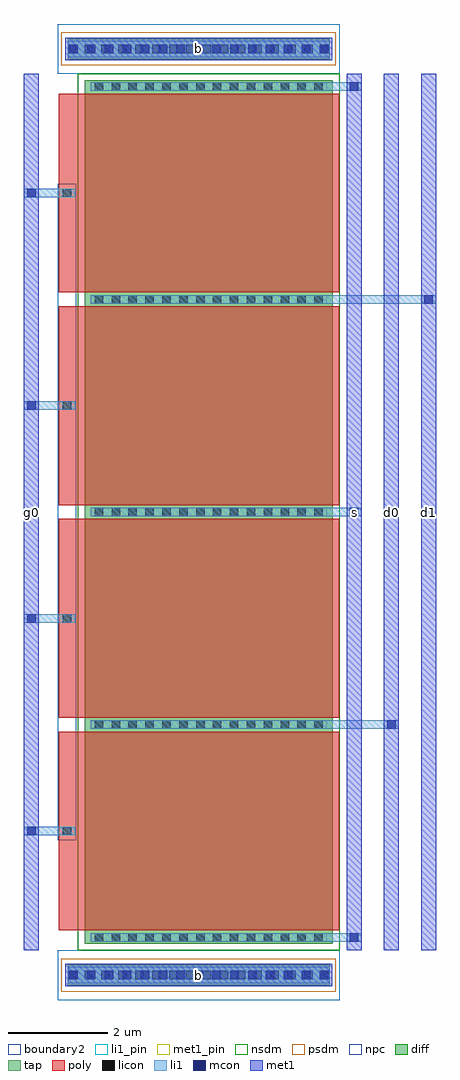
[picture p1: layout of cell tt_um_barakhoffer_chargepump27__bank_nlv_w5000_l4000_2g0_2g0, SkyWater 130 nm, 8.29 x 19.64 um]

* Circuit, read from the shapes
.subckt tt_um_barakhoffer_chargepump27__bank_nlv_w5000_l4000_2g0_2g0 b d0 d1 g0 s
XM1 d0 g0 s b sky130_fd_pr__nfet_01v8 w=5 l=4 m=2
XM2 d1 g0 s b sky130_fd_pr__nfet_01v8 w=5 l=4 m=2
.ends

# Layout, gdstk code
import gdstk
lib = gdstk.Library(unit=1e-6, precision=1e-09)
def R(c, l, rs):  # rectangles x0, y0, x1, y1
    for r in rs: c.add(gdstk.rectangle(r[:2], r[2:], *l))
def A(c, l, x, y, w, h, nx, ny, dx, dy):  # array of equal rectangles
    R(c, l, [(x+i*dx, y+j*dy, x+i*dx+w, y+j*dy+h) for i in range(nx) for j in range(ny)])
diff = (65, 20)
tap = (65, 44)
poly = (66, 20)
licon = (66, 44)
li1_pin = (67, 16)
li1 = (67, 20)
mcon = (67, 44)
met1_pin = (68, 16)
met1 = (68, 20)
nsdm = (93, 44)
psdm = (94, 20)
npc = (95, 20)
boundary2 = (236, 0)

tt_um_barakhoffer_charge = lib.new_cell('tt_um_barakhoffer_chargepump27__mos_18')
A(tt_um_barakhoffer_charge, diff, 0.145, 0, 4.71, 0.25, 1, 5, 0, 4.28)
R(tt_um_barakhoffer_charge, diff, [(0,0,5,17.37)])
A(tt_um_barakhoffer_charge, poly, -0.52, 0.265, 0.33, 4, 1, 4, 0, 4.28)
A(tt_um_barakhoffer_charge, poly, -0.19, 0.265, 5.32, 4, 1, 4, 0, 4.28)
A(tt_um_barakhoffer_charge, poly, -0.52, 2.13, 0.33, 0.27, 1, 4, 0, 4.28)
A(tt_um_barakhoffer_charge, licon, 0.205, 0.04, 0.17, 0.17, 14, 5, 0.34, 4.28)
A(tt_um_barakhoffer_charge, licon, -0.44, 2.18, 0.17, 0.17, 1, 4, 0, 4.28)
A(tt_um_barakhoffer_charge, li1_pin, 0.125, 0.04, 4.75, 0.17, 1, 5, 0, 4.28)
A(tt_um_barakhoffer_charge, li1_pin, -0.52, 2.18, 0.33, 0.17, 1, 4, 0, 4.28)
R(tt_um_barakhoffer_charge, li1, [(0.125,0.04,4.875,0.21), (0.125,0.04,4.875,0.21), (-0.52,2.18,-0.19,2.35), (-0.52,2.18,-0.19,2.35), (0.125,4.32,4.875,4.49), (0.125,4.32,4.875,4.49), (-0.52,6.46,-0.19,6.63), (-0.52,6.46,-0.19,6.63), (0.125,8.6,4.875,8.77), (0.125,8.6,4.875,8.77), (-0.52,10.74,-0.19,10.91), (-0.52,10.74,-0.19,10.91), (0.125,12.88,4.875,13.05), (0.125,12.88,4.875,13.05), (-0.52,15.02,-0.19,15.19), (-0.52,15.02,-0.19,15.19), (0.125,17.16,4.875,17.33), (0.125,17.16,4.875,17.33)])
R(tt_um_barakhoffer_charge, nsdm, [(-0.135,-0.135,5.135,17.505)])
A(tt_um_barakhoffer_charge, npc, -0.54, 2.08, 0.37, 0.37, 1, 4, 0, 4.28)
R(tt_um_barakhoffer_charge, npc, [(-0.54,2.08,-0.17,15.29)])
tt_um_barakhoffer_charge.add(gdstk.Label('gate_1', (-0.355,6.545), layer=67, texttype=5))
tt_um_barakhoffer_charge.add(gdstk.Label('gate_2', (-0.355,10.825), layer=67, texttype=5))
tt_um_barakhoffer_charge.add(gdstk.Label('gate_3', (-0.355,15.105), layer=67, texttype=5))
tt_um_barakhoffer_charge.add(gdstk.Label('sd_0_1', (2.5,4.405), layer=67, texttype=5))
tt_um_barakhoffer_charge.add(gdstk.Label('sd_0_3', (2.5,12.965), layer=67, texttype=5))
tt_um_barakhoffer_charge.add(gdstk.Label('gate_0', (-0.355,2.265), layer=67, texttype=5))
tt_um_barakhoffer_charge.add(gdstk.Label('sd_0_2', (2.5,8.685), layer=67, texttype=5))
tt_um_barakhoffer_charge.add(gdstk.Label('sd_0_0', (2.5,0.125), layer=67, texttype=5))
tt_um_barakhoffer_charge.add(gdstk.Label('sd_0_4', (2.5,17.245), layer=67, texttype=5))

c_tt_um_barakhoffer_charge = lib.new_cell('tt_um_barakhoffer_chargepump27__bank_nlv_w5000_l4000_2g0_2g0')
R(c_tt_um_barakhoffer_charge, tap, [(0.2,0.295,5.47,0.705), (0.2,18.935,5.47,19.345)])
A(c_tt_um_barakhoffer_charge, licon, 0.2, 0.415, 0.17, 0.17, 16, 2, 0.34, 18.64)
A(c_tt_um_barakhoffer_charge, li1, 0.665, 1.175, 5.45, 0.17, 1, 3, 0, 8.56)
A(c_tt_um_barakhoffer_charge, li1, 5.88, 1.175, 0.17, 0.17, 1, 3, 0, 8.56)
A(c_tt_um_barakhoffer_charge, li1, -0.68, 3.315, 1.03, 0.17, 1, 4, 0, 4.28)
A(c_tt_um_barakhoffer_charge, li1, -0.615, 3.315, 0.17, 0.17, 1, 4, 0, 4.28)
R(c_tt_um_barakhoffer_charge, li1, [(0.2,0.335,5.47,0.665), (0.23,0.415,5.44,0.585), (0.665,5.455,6.865,5.625), (6.63,5.455,6.8,5.625), (0.665,14.015,7.615,14.185), (7.38,14.015,7.55,14.185), (0.2,18.975,5.47,19.305), (0.23,19.055,5.44,19.225)])
A(c_tt_um_barakhoffer_charge, mcon, 0.23, 0.415, 0.17, 0.17, 15, 2, 0.36, 18.64)
A(c_tt_um_barakhoffer_charge, mcon, 5.88, 1.175, 0.17, 0.17, 1, 3, 0, 8.56)
A(c_tt_um_barakhoffer_charge, mcon, -0.615, 3.315, 0.17, 0.17, 1, 4, 0, 4.28)
R(c_tt_um_barakhoffer_charge, mcon, [(6.63,5.455,6.8,5.625), (7.38,14.015,7.55,14.185)])
A(c_tt_um_barakhoffer_charge, met1_pin, 5.815, 1, 0.3, 17.64, 3, 1, 0.75, 0)
R(c_tt_um_barakhoffer_charge, met1_pin, [(0.15,0.275,5.525,0.725), (-0.68,1,-0.38,18.64), (0.15,18.915,5.525,19.365)])
A(c_tt_um_barakhoffer_charge, met1, 5.82, 1.145, 0.29, 0.23, 1, 3, 0, 8.56)
A(c_tt_um_barakhoffer_charge, met1, -0.675, 3.285, 0.29, 0.23, 1, 4, 0, 4.28)
R(c_tt_um_barakhoffer_charge, met1, [(0.15,0.275,5.525,0.725), (0.15,0.275,5.525,0.725), (0.17,0.385,5.5,0.615), (-0.68,1,-0.38,18.64), (-0.68,1,-0.38,18.64), (5.815,1,6.115,18.64), (5.815,1,6.115,18.64), (6.565,1,6.865,18.64), (6.565,1,6.865,18.64), (7.315,1,7.615,18.64), (7.315,1,7.615,18.64), (6.57,5.425,6.86,5.655), (7.32,13.985,7.61,14.215), (0.15,18.915,5.525,19.365), (0.15,18.915,5.525,19.365), (0.17,19.025,5.5,19.255)])
R(c_tt_um_barakhoffer_charge, psdm, [(0.07,0.165,5.6,0.835), (0.07,18.805,5.6,19.475)])
R(c_tt_um_barakhoffer_charge, boundary2, [(0,0,5.675,1), (0,18.64,5.675,19.64)])
c_tt_um_barakhoffer_charge.add(gdstk.Reference(tt_um_barakhoffer_charge, (0.54,1.135)))
c_tt_um_barakhoffer_charge.add(gdstk.Label('d1', (7.465,9.82), layer=68, texttype=5))
c_tt_um_barakhoffer_charge.add(gdstk.Label('b', (2.837,0.5), layer=68, texttype=5))
c_tt_um_barakhoffer_charge.add(gdstk.Label('b', (2.837,19.14), layer=68, texttype=5))
c_tt_um_barakhoffer_charge.add(gdstk.Label('s', (5.965,9.82), layer=68, texttype=5))
c_tt_um_barakhoffer_charge.add(gdstk.Label('d0', (6.715,9.82), layer=68, texttype=5))
c_tt_um_barakhoffer_charge.add(gdstk.Label('g0', (-0.53,9.82), layer=68, texttype=5))

lib.write_gds('tt_um_barakhoffer_chargepump27__bank_nlv_w5000_l4000_2g0_2g0.gds')
